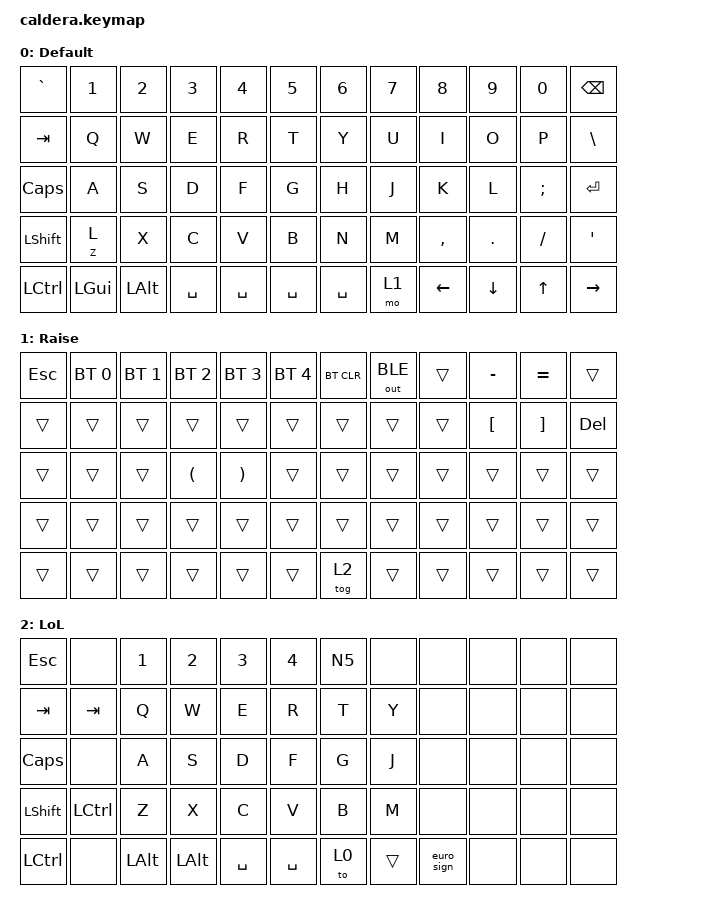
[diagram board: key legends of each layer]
#include <behaviors.dtsi>
#include <dt-bindings/zmk/bt.h>
#include <dt-bindings/zmk/keys.h>
#include <dt-bindings/zmk/outputs.h>
#include "zmk-helpers/helper.h"
#include "zmk-helpers/key-labels/5x6.h"

ZMK_HOLD_TAP(hrm,
    flavor = "balanced";
    tapping-term-ms = <200>;
    quick-tap-ms = <QUICK_TAP_MS>;
    bindings = <&kp>, <&kp>;
)

ZMK_UNICODE_SINGLE(euro_sign, N2, N0, A, C)  // €

/ {



    keymap {
        compatible = "zmk,keymap";

        default_layer {
            display-name = "Default";
            bindings = <
&kp GRAVE  &kp N1        &kp N2        &kp N3     &kp N4     &kp N5       &kp N6     &kp N7  &kp N8          &kp N9          &kp N0        &kp BSPC
&kp TAB    &kp Q         &kp W         &kp E      &kp R      &kp T        &kp Y      &kp U   &kp I           &kp O           &kp P         &kp BSLH
&kp CAPS   &kp A         &kp S         &kp D      &kp F      &kp G        &kp H      &kp J   &kp K           &kp L           &kp SEMI      &kp RET
&kp LSHFT  &hrm Z L       &kp X         &kp C      &kp V      &kp B        &kp N      &kp M   &kp COMMA       &kp DOT         &kp FSLH      &kp APOS
&kp LCTRL  &kp LEFT_GUI  &kp LEFT_ALT  &kp SPACE  &kp SPACE  &kp SPACE    &kp SPACE  &mo 1   &kp LEFT_ARROW  &kp DOWN_ARROW  &kp UP_ARROW  &kp RIGHT
            >;
        };

        Lower {
            display-name = "Raise";
            bindings = <
&kp ESC  &bt BT_SEL 0  &bt BT_SEL 1  &bt BT_SEL 2  &bt BT_SEL 3  &bt BT_SEL 4    &bt BT_CLR  &out OUT_BLE  &trans  &kp MINUS  &kp EQUAL  &trans
&trans   &trans        &trans        &trans        &trans        &trans          &trans      &trans        &trans  &kp LBKT   &kp RBKT   &kp DEL
&trans   &trans        &trans        &kp LPAR      &kp RPAR      &trans          &trans      &trans        &trans  &trans     &trans     &trans
&trans   &trans        &trans        &trans        &trans        &trans          &trans      &trans        &trans  &trans     &trans     &trans
&trans   &trans        &trans        &trans        &trans        &trans          &tog 2      &trans        &trans  &trans     &trans     &trans
            >;
        };

        Gaming {
            display-name = "LoL";
            bindings = <
&kp ESC    &none      &kp N1        &kp N2     &kp N3     &kp N4           &N5    &none  &none  &none  &none  &none
&kp TAB    &kp TAB    &kp Q         &kp W      &kp E      &kp R            &kp T  &kp Y  &none  &none  &none  &none
&kp CAPS   &none      &kp A         &kp S      &kp D      &kp F            &kp G  &kp J  &none  &none  &none  &none
&kp LSHFT  &kp LCTRL  &kp Z         &kp X      &kp C      &kp V            &kp B  &kp M  &none  &none  &none  &none
&kp LCTRL  &none      &kp LEFT_ALT  &kp LEFT_ALT  &kp SPACE  &kp SPACE     &to 0  &trans  &euro_sign  &none  &none  &none
            >;
        };
    };
};
